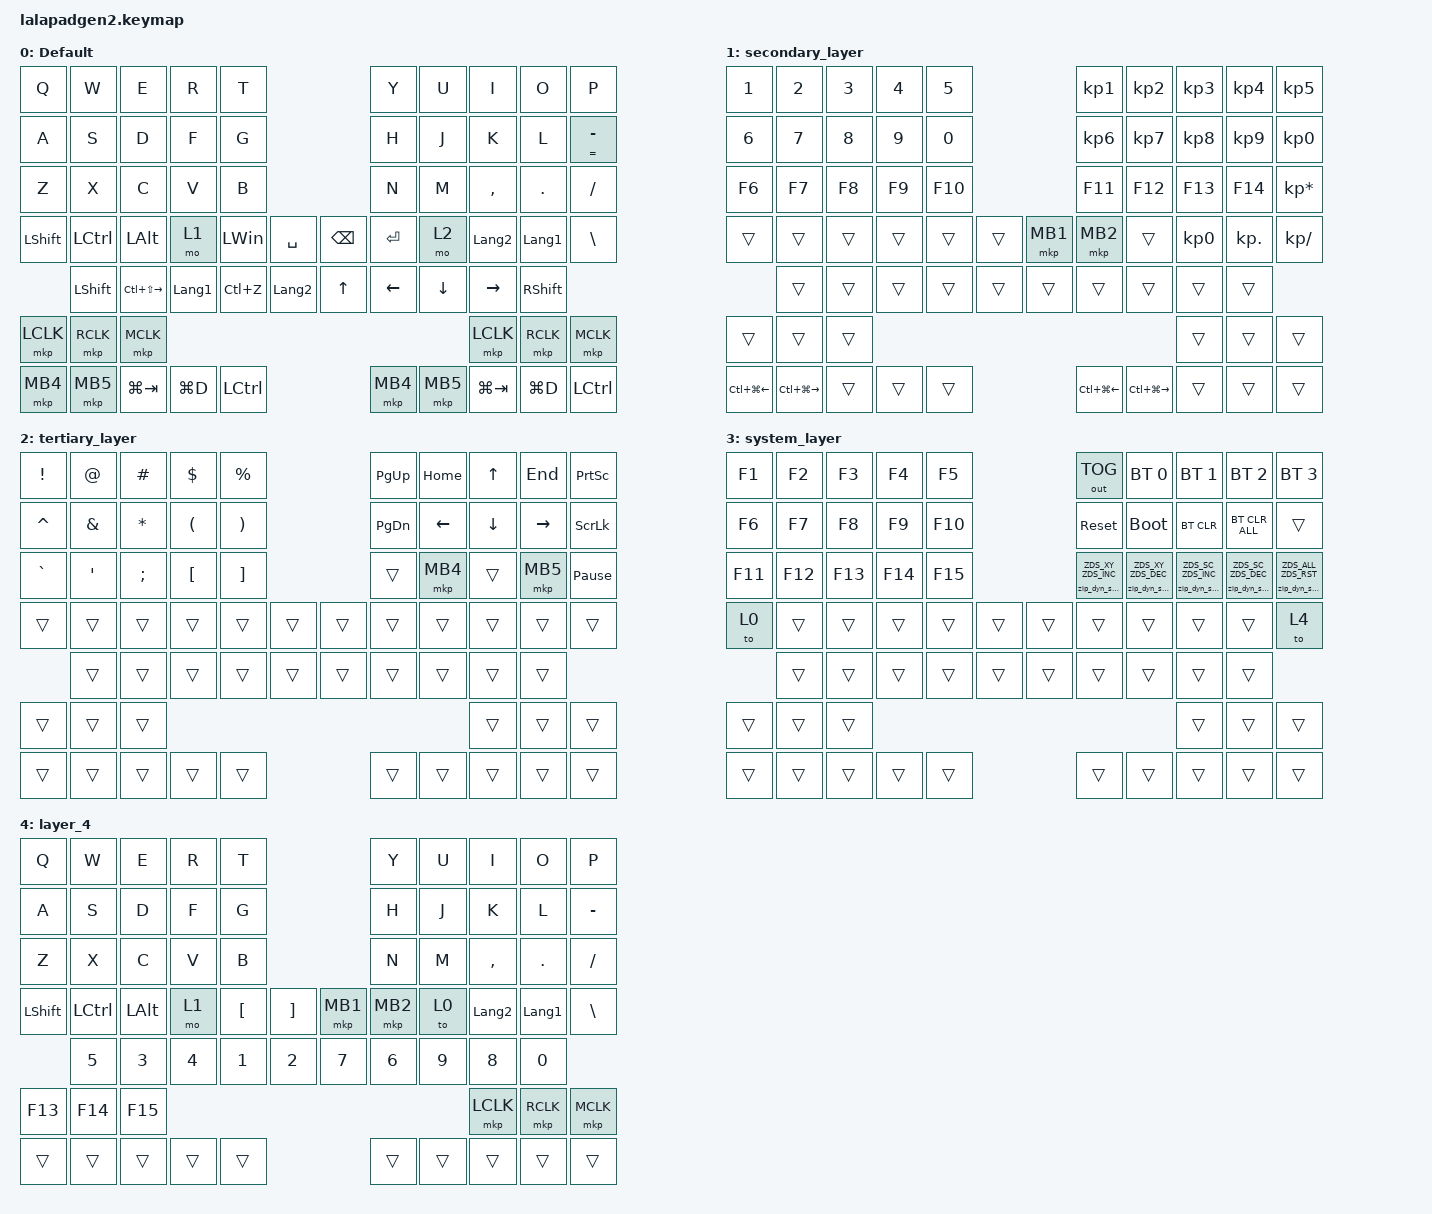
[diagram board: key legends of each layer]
#include <input/processors.dtsi>
#include <dt-bindings/zmk/zip_dynamic_scale.h>
#include <behaviors.dtsi>
#include <dt-bindings/zmk/bt.h>
#include <dt-bindings/zmk/keys.h>
#include <dt-bindings/zmk/outputs.h>
#include <dt-bindings/zmk/pointing.h>

#define DEFAULT_LAYER   0
#define SECONDARY_LAYER 1
#define TERTIARY_LAYER  2
#define SYSTEM_LAYER    3

&mt { quick-tap-ms = <200>; };

&lt { quick-tap-ms = <200>; };

/ {
    behaviors {
        zip_dyn_scale: zip_dyn_scale {
            compatible = "zmk,behavior-zip-dynamic-scale";
            #binding-cells = <2>;
        };

        zip_dyn_scale_set: zip_dyn_scale_set {
            compatible = "zmk,behavior-zip-dynamic-scale-set";
            #binding-cells = <2>;
        };

        mt2: mod_tap2 {
            compatible = "zmk,behavior-hold-tap";
            #binding-cells = <2>;
            flavor = "tap-preferred";
            tapping-term-ms = <200>;
            quick-tap-ms = <200>;
            require-prior-idle-ms = <125>;
            bindings = <&kp>, <&kp>;
        };

        tap_dance_layer_1and2: tap_dance_layer_1and2 {
            compatible = "zmk,behavior-tap-dance";
            label = "td_mo12";
            #binding-cells = <0>;
            bindings = <&mo 1>, <&mo 2>;
        };
    };

    combos {
        compatible = "zmk,combos";

        CONBO_ESC {
            bindings = <&kp ESCAPE>;
            key-positions = <0 1>;
        };

        COMBO_TAB {
            bindings = <&kp TAB>;
            key-positions = <10 11>;
        };

        backspase {
            bindings = <&kp BACKSPACE>;
            key-positions = <8 9>;
        };

        COMBO-enter {
            bindings = <&kp ENTER>;
            key-positions = <18 19>;
        };

        left-enter {
            bindings = <&kp ENTER>;
            key-positions = <13 14>;
        };

        left-backspace {
            bindings = <&kp BACKSPACE>;
            key-positions = <4 3>;
        };
    };

    keymap {
        compatible = "zmk,keymap";

        DEFAULT_LAYER {
            display-name = "Default";
            bindings = <
&kp Q           &kp W           &kp E              &kp R           &kp T                                        &kp Y      &kp U     &kp I           &kp O            &kp P
&kp A           &kp S           &kp D              &kp F           &kp G                                        &kp H      &kp J     &kp K           &kp L            &mt2 EQUAL MINUS
&kp Z           &kp X           &kp C              &kp V           &kp B                                        &kp N      &kp M     &kp COMMA       &kp PERIOD       &kp SLASH
&kp LEFT_SHIFT  &kp LCTRL       &kp LEFT_ALT       &mo 1           &kp LEFT_WIN  &kp SPACE       &kp BACKSPACE  &kp ENTER  &mo 2     &kp LANGUAGE_2  &kp LANGUAGE_1   &kp BACKSLASH
                &kp LEFT_SHIFT  &kp LC(LS(RIGHT))  &kp LANGUAGE_1  &kp LC(Z)     &kp LANGUAGE_2  &kp UP         &kp LEFT   &kp DOWN  &kp RIGHT       &kp RIGHT_SHIFT
&mkp LCLK       &mkp RCLK       &mkp MCLK                                                                                            &mkp LCLK       &mkp RCLK        &mkp MCLK
&mkp MB4        &mkp MB5        &kp LG(TAB)        &kp LG(D)       &kp LCTRL                                    &mkp MB4   &mkp MB5  &kp LG(TAB)     &kp LG(D)        &kp LCTRL
            >;
        };

        SECONDARY_LAYER {
            display-name = "secondary_layer";
            bindings = <
&kp NUMBER_1      &kp NUMBER_2       &kp NUMBER_3  &kp NUMBER_4  &kp N5                     &kp KP_NUMBER_1   &kp KP_NUMBER_2    &kp KP_NUMBER_3  &kp KP_NUMBER_4  &kp KP_NUMBER_5
&kp NUMBER_6      &kp N7             &kp N8        &kp N9        &kp N0                     &kp KP_NUMBER_6   &kp KP_NUMBER_7    &kp KP_NUMBER_8  &kp KP_NUMBER_9  &kp KP_NUMBER_0
&kp F6            &kp F7             &kp F8        &kp F9        &kp F10                    &kp F11           &kp F12            &kp F13          &kp F14          &kp KP_ASTERISK
&trans            &trans             &trans        &trans        &trans   &trans  &mkp MB1  &mkp MB2          &trans             &kp KP_NUMBER_0  &kp KP_DOT       &kp KP_DIVIDE
                  &trans             &trans        &trans        &trans   &trans  &trans    &trans            &trans             &trans           &trans
&trans            &trans             &trans                                                                                      &trans           &trans           &trans
&kp LC(LG(LEFT))  &kp LC(LG(RIGHT))  &trans        &trans        &trans                     &kp LC(LG(LEFT))  &kp LC(LG(RIGHT))  &trans           &trans           &trans
            >;
        };

        TERTIARY_LAYER {
            display-name = "tertiary_layer";
            bindings = <
&kp EXCLAMATION  &kp AT_SIGN    &kp HASH      &kp DOLLAR            &kp PERCENT                            &kp PAGE_UP    &kp HOME  &kp UP_ARROW    &kp END    &kp PRINTSCREEN
&kp CARET        &kp AMPERSAND  &kp ASTERISK  &kp LEFT_PARENTHESIS  &kp RIGHT_PARENTHESIS                  &kp PAGE_DOWN  &kp LEFT  &kp DOWN_ARROW  &kp RIGHT  &kp SCROLLLOCK
&kp GRAVE        &kp SQT        &kp SEMI      &kp LEFT_BRACKET      &kp RIGHT_BRACKET                      &trans         &mkp MB4  &trans          &mkp MB5   &kp PAUSE_BREAK
&trans           &trans         &trans        &trans                &trans                 &trans  &trans  &trans         &trans    &trans          &trans     &trans
                 &trans         &trans        &trans                &trans                 &trans  &trans  &trans         &trans    &trans          &trans
&trans           &trans         &trans                                                                                              &trans          &trans     &trans
&trans           &trans         &trans        &trans                &trans                                 &trans         &trans    &trans          &trans     &trans
            >;
        };

        SYSTEM_LAYER {
            display-name = "system_layer";
            bindings = <
&kp F1   &kp F2   &kp F3   &kp F4   &kp F5                   &out OUT_TOG                   &bt BT_SEL 0                   &bt BT_SEL 1                   &bt BT_SEL 2                   &bt BT_SEL 3
&kp F6   &kp F7   &kp F8   &kp F9   &kp F10                  &sys_reset                     &bootloader                    &bt BT_CLR                     &bt BT_CLR_ALL                 &trans
&kp F11  &kp F12  &kp F13  &kp F14  &kp F15                  &zip_dyn_scale ZDS_XY ZDS_INC  &zip_dyn_scale ZDS_XY ZDS_DEC  &zip_dyn_scale ZDS_SC ZDS_INC  &zip_dyn_scale ZDS_SC ZDS_DEC  &zip_dyn_scale ZDS_ALL ZDS_RST
&to 0    &trans   &trans   &trans   &trans   &trans  &trans  &trans                         &trans                         &trans                         &trans                         &to 4
         &trans   &trans   &trans   &trans   &trans  &trans  &trans                         &trans                         &trans                         &trans
&trans   &trans   &trans                                                                                                   &trans                         &trans                         &trans
&trans   &trans   &trans   &trans   &trans                   &trans                         &trans                         &trans                         &trans                         &trans
            >;
        };

        layer_4 {
            bindings = <
&kp Q      &kp W      &kp E         &kp R         &kp T                                              &kp Y         &kp U         &kp I           &kp O           &kp P
&kp A      &kp S      &kp D         &kp F         &kp G                                              &kp H         &kp J         &kp K           &kp L           &kp MINUS
&kp Z      &kp X      &kp C         &kp V         &kp B                                              &kp N         &kp M         &kp COMMA       &kp DOT         &kp FSLH
&kp LSHFT  &kp LCTRL  &kp LALT      &mo 1         &kp LEFT_BRACKET  &kp RIGHT_BRACKET  &mkp MB1      &mkp MB2      &to 0         &kp LANGUAGE_2  &kp LANGUAGE_1  &kp BACKSLASH
           &kp N5     &kp NUMBER_3  &kp NUMBER_4  &kp NUMBER_1      &kp NUMBER_2       &kp NUMBER_7  &kp NUMBER_6  &kp NUMBER_9  &kp NUMBER_8    &kp NUMBER_0
&kp F13    &kp F14    &kp F15                                                                                                    &mkp LCLK       &mkp RCLK       &mkp MCLK
&trans     &trans     &trans        &trans        &trans                                             &trans        &trans        &trans          &trans          &trans
            >;
        };
    };

    conditional_layers {
        compatible = "zmk,conditional-layers";

        Cond_Syslayer {
            if-layers = <1 2>;
            then-layer = <3>;
        };
    };
};
